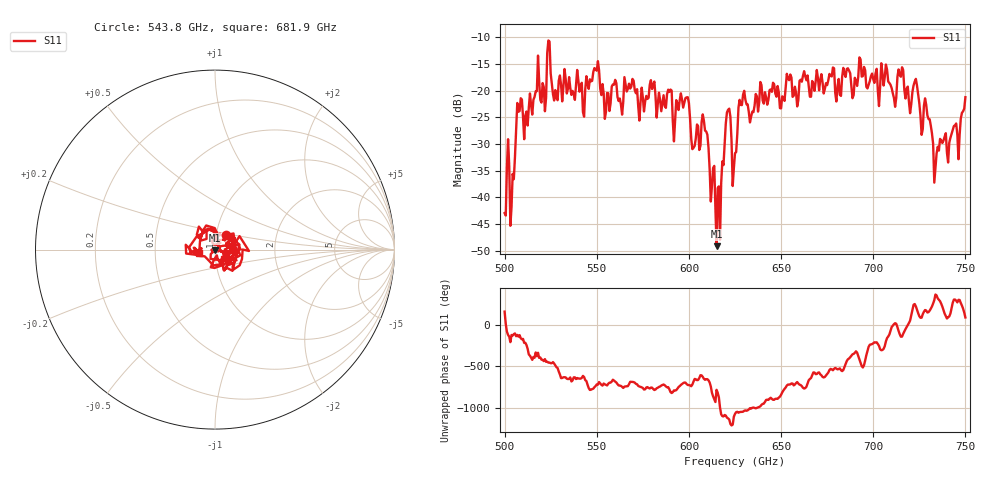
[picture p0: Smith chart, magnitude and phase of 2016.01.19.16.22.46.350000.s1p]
!Created with skrf (http://scikit-rf.org).
# GHz S RI R 50.0
!freq ReS11 ImS11
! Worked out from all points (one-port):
!   401 points, 500 GHz to 750 GHz, reference 50 ohm
!   lowest |S11| = -49.2 dB at 615 GHz (marker M1), VSWR 1.01, Z = 50.1 - j0.316 ohm
!   |S11| at or under -10 dB: start of sweep to end of sweep
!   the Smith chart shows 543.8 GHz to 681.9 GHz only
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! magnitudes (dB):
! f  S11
! 500 GHz  -43.0
! 504.4 GHz  -35.6
! 508.1 GHz  -23.8
! 521.2 GHz  -19.3
! 524.4 GHz  -10.8
! 527.5 GHz  -19.9
! 531.2 GHz  -22.0
! 542.5 GHz  -24.0
! 550 GHz  -16.2
! 553.8 GHz  -20.5
! 562.5 GHz  -21.5
! 593.8 GHz  -22.4
! 598.8 GHz  -21.2
! 602.5 GHz  -30.7
! 608.8 GHz  -27.5
! 615 GHz  -49.2
! 616.2 GHz  -37.9
! 621.2 GHz  -23.6
! 625 GHz  -31.7
! 628.8 GHz  -22.7
! 656.2 GHz  -21.1
! 687.5 GHz  -16.7
! 711.2 GHz  -21.4
! 715 GHz  -17.4
! 718.8 GHz  -19.2
! 723.1 GHz  -17.8
! 734.4 GHz  -31.8
! 750 GHz  -21.2
